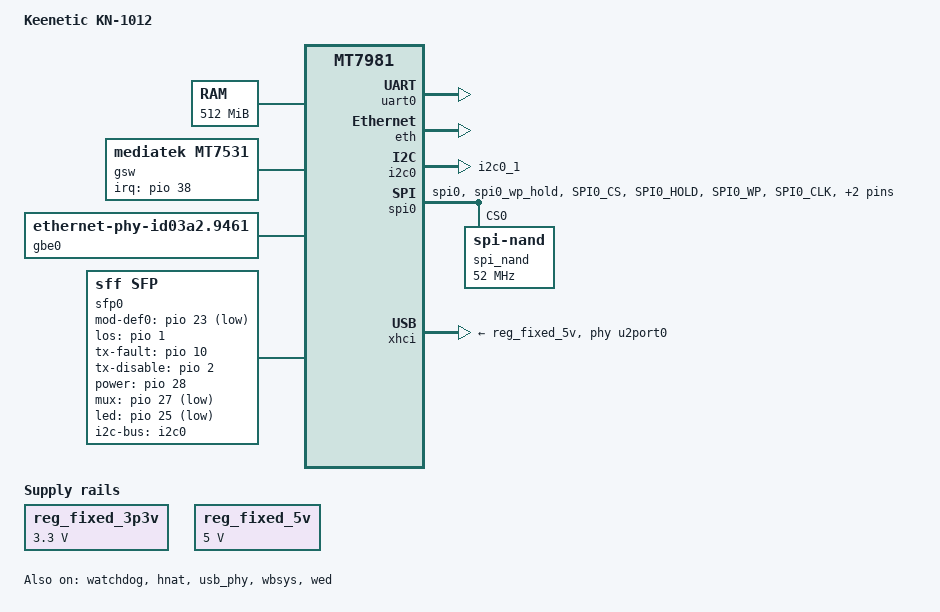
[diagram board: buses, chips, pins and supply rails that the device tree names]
/dts-v1/;
#include <dt-bindings/gpio/gpio.h>
#include <dt-bindings/pinctrl/mt65xx.h>
#include <mediatek/mt7981.dtsi>
/ {
	model = "Keenetic KN-1012";
	compatible = "keenetic,kn-1012", "mediatek,mt7981";

	chosen {
		bootargs = "console=ttyS0,115200n1 loglevel=8 earlycon=uart8250,mmio32,0x11002000";
	};

	memory@40000000 {
		device_type = "memory";
		reg = <0 0x40000000 0 0x20000000>;
	};

	nmbm_spim_nand {
		compatible = "generic,nmbm";
		lower-mtd-device = <&spi_nand>;
		forced-create;
	};

	gsw: gsw-sgmii0 {
		compatible = "mediatek,mt7531";
		#address-cells = <1>;
		#size-cells = <0>;
		mediatek,ethsys = <&ethsys>;
	};

	gbe0: gbe-gmii1 {
		compatible = "ethernet-phy-id03a2.9461";
		#address-cells = <1>;
		#size-cells = <0>;
		reg = <0>;
		nvmem-cells = <&phy_calibration>;
		nvmem-cell-names = "phy-cal-data";
	};

	sfp0: sfp-p5 {
		compatible = "sff,sfp";
		i2c-bus = <&i2c0>;
		mod-def0-gpios = <&pio 23 GPIO_ACTIVE_LOW>;
		los-gpios = <&pio 1 GPIO_ACTIVE_HIGH>;
		tx-fault-gpios = <&pio 10 GPIO_ACTIVE_HIGH>;
		tx-disable-gpios = <&pio 2 GPIO_ACTIVE_HIGH>;
		power-gpios = <&pio 28 GPIO_ACTIVE_HIGH>;
		mux-gpios = <&pio 27 GPIO_ACTIVE_LOW>;
		led-gpios = <&pio 25 GPIO_ACTIVE_LOW>;
		maximum-power-milliwatt = <3000>;
	};

	reg_fixed_3p3v: regulator-3p3v {
		compatible = "regulator-fixed";
		regulator-name = "fixed-3.3V";
		regulator-min-microvolt = <3300000>;
		regulator-max-microvolt = <3300000>;
		regulator-always-on;
	};

	reg_fixed_5v: regulator-5v {
		compatible = "regulator-fixed";
		regulator-name = "fixed-5V";
		regulator-min-microvolt = <5000000>;
		regulator-max-microvolt = <5000000>;
		regulator-always-on;
	};
};

&uart0 {
	status = "okay";
};

&watchdog {
	status = "okay";
};

&gsw {
	interrupt-parent = <&pio>;
	interrupts = <38 IRQ_TYPE_LEVEL_HIGH>,
		     <0 IRQ_TYPE_LEVEL_LOW>;
	interrupt-names = "gsw", "intb";
	sfp = <&sfp0>;
	status = "okay";
};

&eth {
	mediatek,gsw = <&gsw>;
	mediatek,phy = <&gbe0>;
	status = "okay";
};

&hnat {
	eth-max-gmac = <2>;
	status = "okay";
};

&i2c0 {
	pinctrl-names = "default";
	pinctrl-0 = <&i2c_pins_g1>;
	status = "okay";
};

&spi0 {
	pinctrl-names = "default";
	pinctrl-0 = <&spi0_flash_pins>;
	status = "okay";

	spi_nand: spi_nand@0 {
		compatible = "spi-nand";
		reg = <0>;
		spi-max-frequency = <52000000>;
		spi-tx-bus-width = <4>;
		spi-rx-bus-width = <4>;
	};
};

&usb_phy {
	status = "okay";
};

&xhci {
	mediatek,u3p-dis-msk = <0x0>;
	phys = <&u2port0 PHY_TYPE_USB2>,
	       <&u3port0 PHY_TYPE_USB3>;
	vusb33-supply = <&reg_fixed_3p3v>;
	vbus-supply = <&reg_fixed_5v>;
	status = "okay";
};

&wbsys {
	status = "okay";
};

&wed {
	wdma_rx_ring_depth = <1024>;
	wdma_tx_ring_depth = <1024>;
	status = "okay";
};

&wed_pcie {
	status = "disabled";
};

&pio {
	spi0_flash_pins: spi0-pins-16-to-21 {
		mux {
			function = "spi";
			groups = "spi0", "spi0_wp_hold";
		};

		conf-pu {
			pins = "SPI0_CS", "SPI0_HOLD", "SPI0_WP";
			drive-strength = <MTK_DRIVE_8mA>;
			mediatek,pull-up-adv = <3>;	/* pull-up 75k */
		};

		conf-pd {
			pins = "SPI0_CLK", "SPI0_MOSI", "SPI0_MISO";
			drive-strength = <MTK_DRIVE_8mA>;
			mediatek,pull-down-adv = <3>;	/* pull-down 75k */
		};
	};

	i2c_pins_g1: i2c-pins-30-31 {
		mux {
			function = "i2c";
			groups = "i2c0_1";
		};
	};
};
